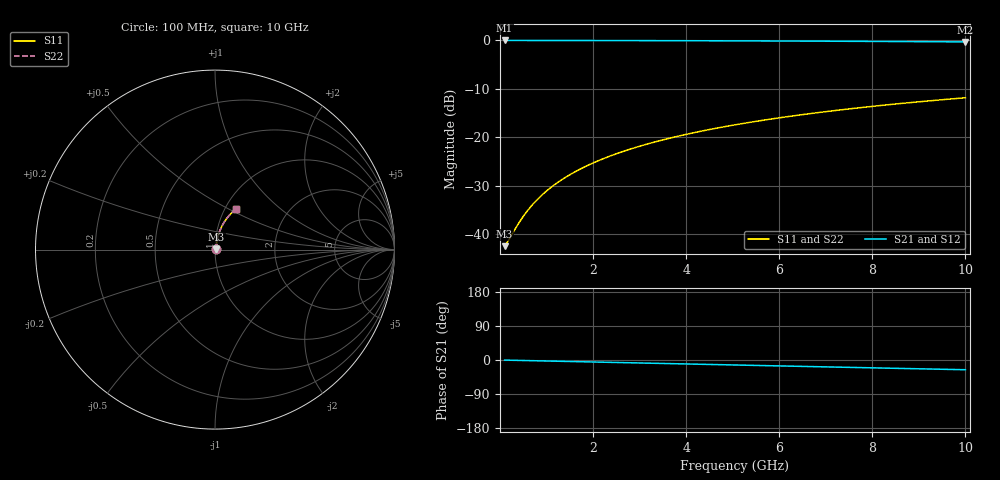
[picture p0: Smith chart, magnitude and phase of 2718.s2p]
# Hz S RI R 50.00
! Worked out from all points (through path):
!   100 points, 100 MHz to 10 GHz, reference 50 ohm
!   highest |S21| = -0.06 dB at 100 MHz (marker M1); lowest = -0.4 dB at 10 GHz (marker M2)
!   group delay of S21, straight-line fit = 7.15 ps
!   lowest |S11| = -42.5 dB at 100 MHz (marker M3), VSWR 1.02, Z = 50.7 + j0.269 ohm
!   |S11| at or under -10 dB: start of sweep to end of sweep
!   |S22| runs from -42.5 to -11.9 dB; largest |S21 - S12| = 0
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1e8  0.007 0.00265  0.993 -0.00454  0.993 -0.00454  0.007 0.00265
2e8  0.00708 0.0053  0.9929 -0.00908  0.9929 -0.00908  0.00708 0.0053
4e8  0.00728 0.0106  0.9927 -0.0182  0.9927 -0.0182  0.00728 0.0106
5e8  0.00742 0.0132  0.9925 -0.0227  0.9925 -0.0227  0.00742 0.0132
6e8  0.00757 0.0159  0.9924 -0.0272  0.9924 -0.0272  0.00757 0.0159
7e8  0.00775 0.0185  0.9922 -0.0318  0.9922 -0.0318  0.00775 0.0185
8e8  0.00794 0.0212  0.9919 -0.0363  0.9919 -0.0363  0.00794 0.0212
1e9  0.00841 0.0265  0.9914 -0.0453  0.9914 -0.0453  0.00841 0.0265
1.2e9  0.00897 0.0317  0.9908 -0.0544  0.9908 -0.0544  0.00897 0.0317
1.5e9  0.00998 0.0396  0.9896 -0.0679  0.9896 -0.0679  0.00998 0.0396
1.8e9  0.0112 0.0474  0.9882 -0.0814  0.9882 -0.0814  0.0112 0.0474
2.1e9  0.0126 0.0552  0.9865 -0.0949  0.9865 -0.0949  0.0126 0.0552
2.5e9  0.0149 0.0655  0.984 -0.1128  0.984 -0.1128  0.0149 0.0655
2.9e9  0.0175 0.0758  0.981 -0.1306  0.981 -0.1306  0.0175 0.0758
3.4e9  0.0213 0.0884  0.9766 -0.1527  0.9766 -0.1527  0.0213 0.0884
4.2e9  0.0284 0.1081  0.9683 -0.1875  0.9683 -0.1875  0.0284 0.1081
5.1e9  0.0382 0.1295  0.9571 -0.226  0.9571 -0.226  0.0382 0.1295
5.9e9  0.0482 0.1477  0.9454 -0.2595  0.9454 -0.2595  0.0482 0.1477
6.7e9  0.0594 0.1651  0.9323 -0.2921  0.9323 -0.2921  0.0594 0.1651
7.5e9  0.0718 0.1815  0.9179 -0.3237  0.9179 -0.3237  0.0718 0.1815
8.4e9  0.087 0.1987  0.9001 -0.3582  0.9001 -0.3582  0.087 0.1987
1e10  0.1167 0.2259  0.8648 -0.416  0.8648 -0.416  0.1167 0.2259
